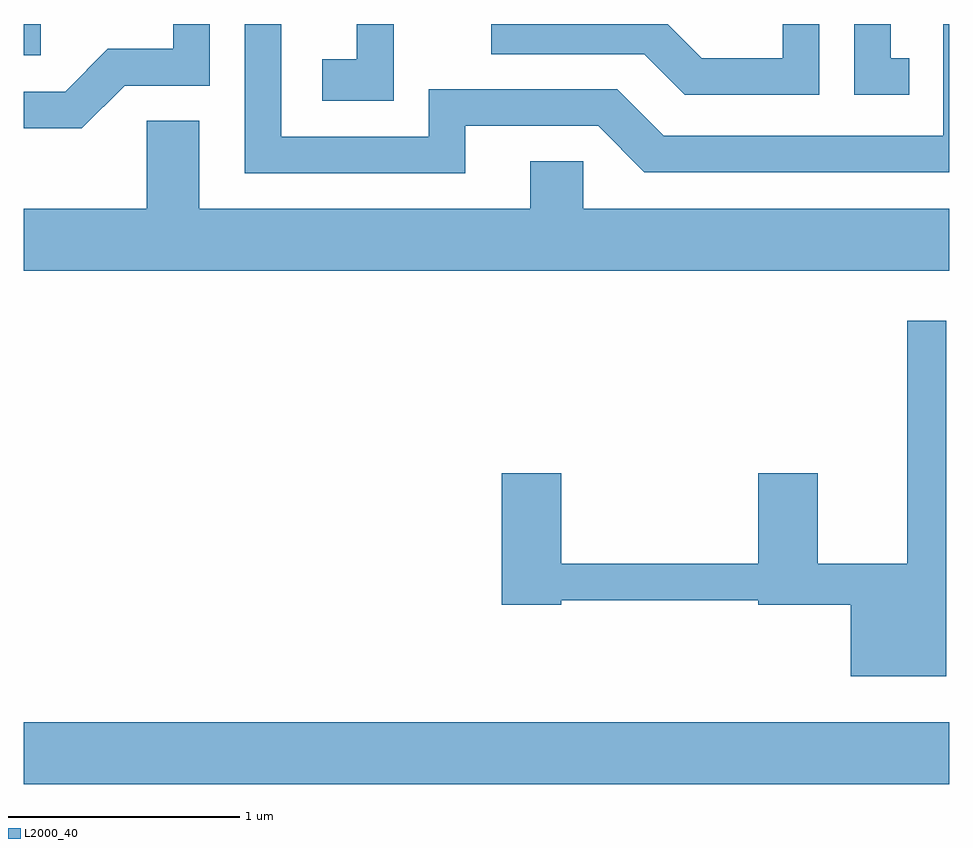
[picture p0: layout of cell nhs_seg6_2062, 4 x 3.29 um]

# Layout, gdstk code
import gdstk
lib = gdstk.Library(unit=1e-6, precision=1e-09)
def R(c, l, rs):  # rectangles x0, y0, x1, y1
    for r in rs: c.add(gdstk.rectangle(r[:2], r[2:], *l))
def P(c, l, *ps):  # polygons
    for p in ps: c.add(gdstk.Polygon(p, *l))
L2000_40 = (2000, 40)

nhs_seg6_2062 = lib.new_cell('nhs_seg6_2062')
R(nhs_seg6_2062, L2000_40, [(247.611,1598.876,251.611,1599.144), (247.611,1602.026,247.684,1602.162)])
P(nhs_seg6_2062, L2000_40, [(251.049,1602.162),(250.891,1602.162),(250.891,1602.014),(250.542,1602.014),(250.394,1602.162),(249.631,1602.162),(249.631,1602.031),(250.294,1602.031),(250.469,1601.856),(251.049,1601.856)],
  [(251.438,1602.014),(251.359,1602.014),(251.359,1602.162),(251.201,1602.162),(251.201,1601.856),(251.438,1601.856)],
  [(249.519,1601.721),(250.094,1601.721),(250.294,1601.521),(251.611,1601.521),(251.611,1602.162),(251.586,1602.162),(251.586,1601.679),(250.377,1601.679),(250.177,1601.879),(249.361,1601.879),(249.361,1601.674),(248.724,1601.674),(248.724,1602.162),(248.566,1602.162),(248.566,1601.516),(249.519,1601.516)],
  [(248.047,1601.896),(248.414,1601.896),(248.414,1602.162),(248.256,1602.162),(248.256,1602.054),(247.974,1602.054),(247.789,1601.869),(247.611,1601.869),(247.611,1601.711),(247.862,1601.711)],
  [(249.209,1602.162),(249.051,1602.162),(249.051,1602.009),(248.901,1602.009),(248.901,1601.831),(249.209,1601.831)],
  [(251.611,1601.364),(250.029,1601.364),(250.029,1601.569),(249.801,1601.569),(249.801,1601.364),(248.369,1601.364),(248.369,1601.744),(248.141,1601.744),(248.141,1601.364),(247.611,1601.364),(247.611,1601.096),(251.611,1601.096)],
  [(251.599,1600.878),(251.431,1600.878),(251.431,1599.829),(251.044,1599.829),(251.044,1600.219),(250.786,1600.219),(250.786,1599.829),(249.934,1599.829),(249.934,1600.219),(249.676,1600.219),(249.676,1599.651),(249.934,1599.651),(249.934,1599.671),(250.786,1599.671),(250.786,1599.651),(251.186,1599.651),(251.186,1599.341),(251.599,1599.341)])

lib.write_gds('nhs_seg6_2062.gds')
